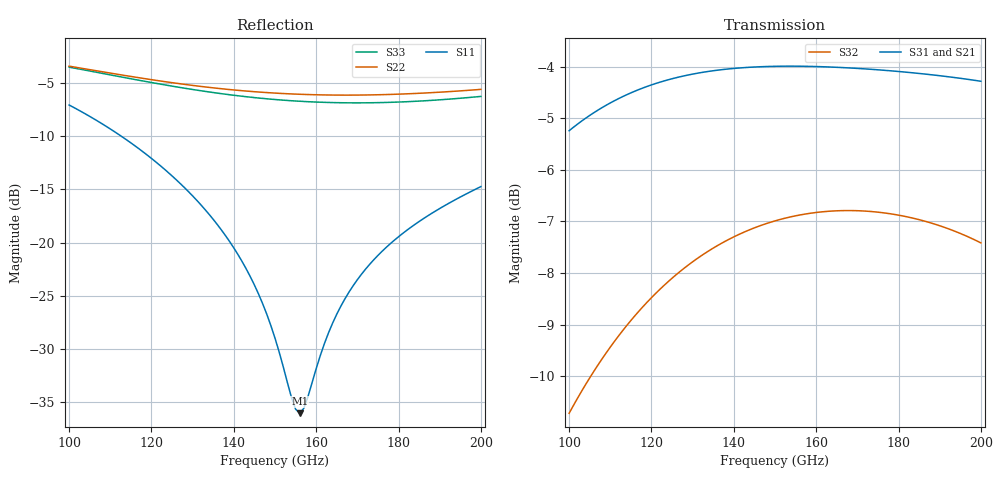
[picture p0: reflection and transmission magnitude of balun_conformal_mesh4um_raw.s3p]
#  GHZ S DB R 50.0
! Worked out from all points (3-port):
!   101 points, 100 GHz to 200 GHz, reference 50 ohm
!   strongest paths, dB at 100 GHz, 125 GHz, 150 GHz, 175 GHz, 200 GHz:
!     S31: -5.2, -4.2, -4.0, -4.1, -4.3
!     S21: -5.1, -4.2, -4.0, -4.1, -4.4
!     S32: -10.7, -8.1, -7.0, -6.8, -7.4
!   lowest |S11| = -36.1 dB at 156 GHz (marker M1), VSWR 1.03, Z = 51.5 - j0.646 ohm
!   |S11| at or under -10 dB: 112.6 GHz to end of sweep
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100  -7.07 132.4  -5.14 -5.7  -5.24 171.8
     -5.14 -5.7  -3.42 61.6  -10.72 94.1
     -5.24 171.8  -10.72 94.1  -3.51 53.0
115  -10.63 109.0  -4.45 -28.2  -4.50 148.2
     -4.45 -28.2  -4.39 47.7  -8.92 72.8
     -4.50 148.2  -8.92 72.8  -4.60 37.5
132  -16.45 84.7  -4.09 -51.7  -4.11 123.5
     -4.09 -51.7  -5.32 34.4  -7.67 50.3
     -4.11 123.5  -7.67 50.3  -5.73 22.7
143  -22.47 67.1  -4.02 -65.8  -4.01 108.6
     -4.02 -65.8  -5.76 26.6  -7.19 36.5
     -4.01 108.6  -7.19 36.5  -6.29 14.4
150  -28.99 46.4  -4.01 -74.5  -3.99 99.5
     -4.01 -74.5  -5.95 21.9  -6.99 28.0
     -3.99 99.5  -6.99 28.0  -6.55 9.4
156  -36.05 -23.5  -4.01 -81.7  -3.99 91.9
     -4.01 -81.7  -6.06 17.8  -6.87 20.9
     -3.99 91.9  -6.87 20.9  -6.72 5.2
164  -27.57 -96.4  -4.04 -91.2  -4.00 81.9
     -4.04 -91.2  -6.13 12.4  -6.80 11.6
     -4.00 81.9  -6.80 11.6  -6.84 -0.4
171  -22.98 -110.6  -4.09 -99.3  -4.03 73.3
     -4.09 -99.3  -6.13 7.5  -6.79 3.5
     -4.03 73.3  -6.79 3.5  -6.87 -5.3
183  -18.57 -123.2  -4.18 -113.1  -4.11 58.7
     -4.18 -113.1  -6.00 -1.2  -6.93 -10.2
     -4.11 58.7  -6.93 -10.2  -6.74 -14.1
200  -14.74 -135.9  -4.38 -132.7  -4.28 38.0
     -4.38 -132.7  -5.60 -14.8  -7.42 -29.9
     -4.28 38.0  -7.42 -29.9  -6.26 -27.9
